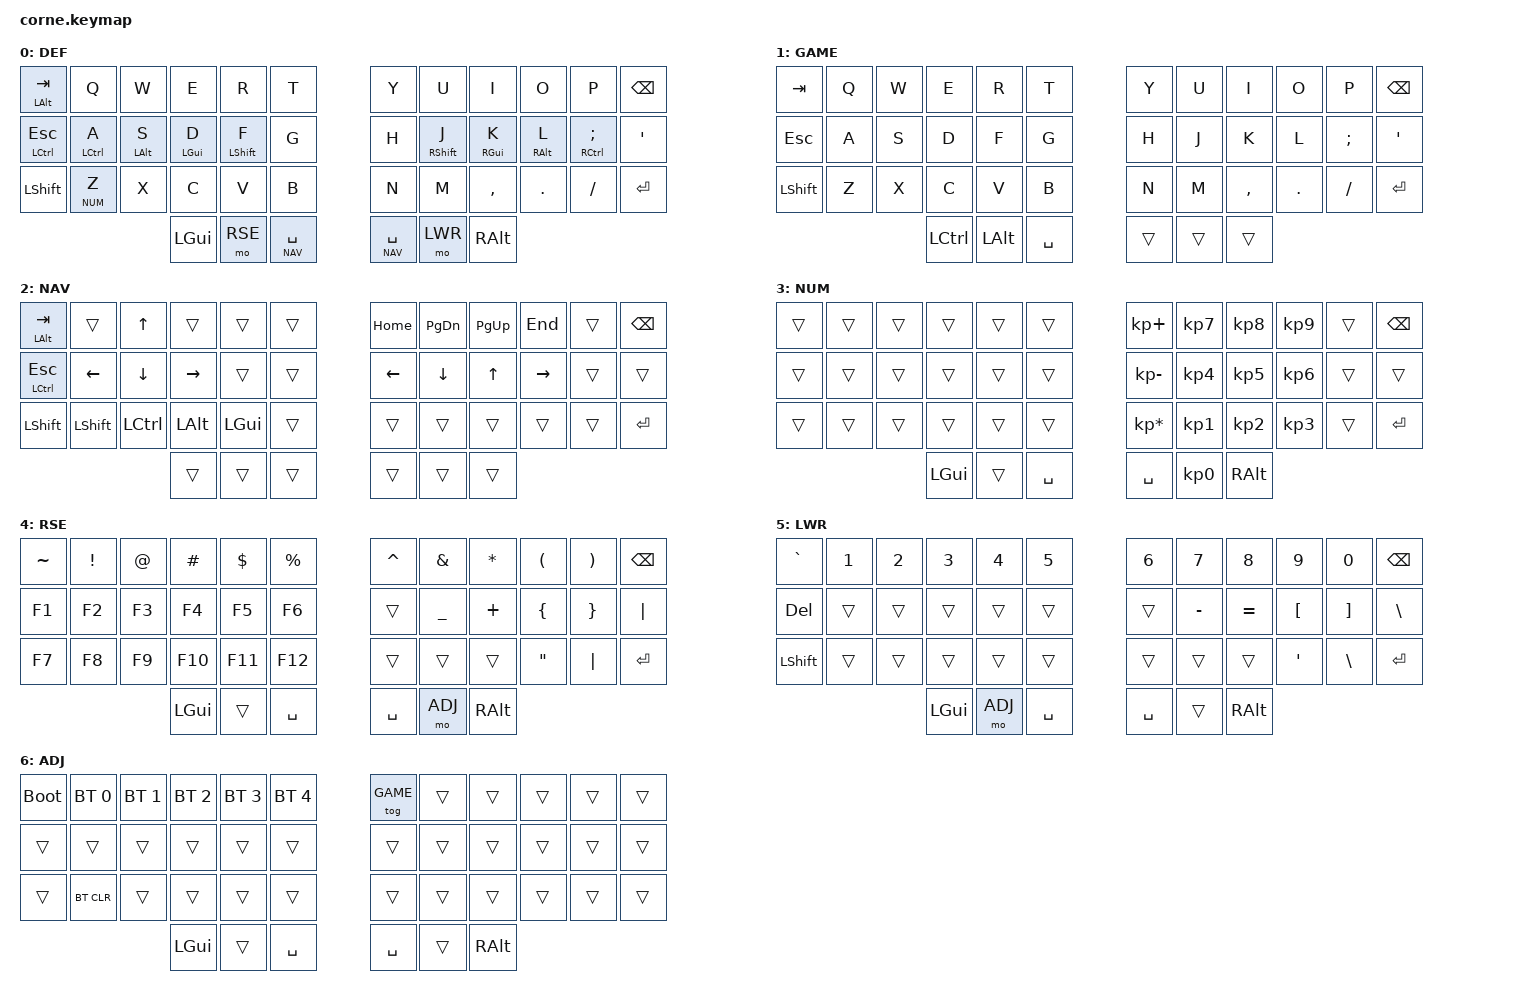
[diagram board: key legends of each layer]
/*
 * Copyright (c) 2020 The ZMK Contributors
 *
 * SPDX-License-Identifier: MIT
 */

#include <behaviors.dtsi>
#include <dt-bindings/zmk/keys.h>
#include <dt-bindings/zmk/bt.h>

&mt {
    flavor = "hold-preferred";
    tapping-term-ms = <150>;
};

&lt {
        #binding-cells = <2>;
        tapping-term-ms = <170>;
        quick-tap-ms = <150>;
        flavor = "tap-preferred";
};

// Layer aliases
#define DEF 0
#define GAME 1
#define NAV 2
#define NUM 3
#define RSE 4
#define LWR 5
#define ADJ 6

&caps_word {
    continue-list = <UNDERSCORE MINUS BSPC DEL N1 N2 N3 N4 N5 N6 N7 N8 N9 N0>;
};
/ {
        behaviors {
                am: alpha_mods {
                        compatible = "zmk,behavior-hold-tap";
                        label = "ALPHA_MT";
                        #binding-cells = <2>;
                        tapping-term-ms = <200>;
                        quick-tap-ms = <150>;
                        flavor = "tap-preferred";
                        bindings = <&kp>, <&kp>;
                };
                as: alpha_shift {
                        compatible = "zmk,behavior-hold-tap";
                        label = "ALPHA_SFT";
                        #binding-cells = <2>;
                        tapping-term-ms = <170>;
                        quick-tap-ms = <150>;
                        flavor = "tap-preferred";
                        bindings = <&kp>, <&kp>;
                };
        };

        combos {
                compatible = "zmk,combos";

                caps_word {
                        bindings = <&caps_word>;
                        key-positions = <17 18>;
                };
        };

        keymap {
                compatible = "zmk,keymap";

                default_layer {
                        label= "DEF";
                        bindings = <
// ╭─────────────┬──────────────┬─────────────┬──────────────┬─────────────┬─────────────╮   ╭──────────────┬──────────────┬─────────────┬─────────────┬───────────────┬────────────╮
     &mt LALT TAB  &kp Q          &kp W          &kp E          &kp R            &kp T            &kp Y        &kp U           &kp I        &kp O        &kp P           &kp BSPC
// ├─────────────┼──────────────┼─────────────┼──────────────┼─────────────┼─────────────┤   ├──────────────┼──────────────┼─────────────┼─────────────┼───────────────┼────────────┤
     &mt LCTRL ESC &am LCTRL A    &am LALT S     &am LGUI D     &as LSHFT F      &kp G            &kp H        &as RSHFT J     &am RGUI K   &am RALT L   &am RCTRL SEMI  &kp SQT
// ├─────────────┼──────────────┼─────────────┼──────────────┼─────────────┼─────────────┤   ├──────────────┼──────────────┼─────────────┼─────────────┼───────────────┼────────────┤
     &kp LSHFT     &lt NUM Z       &kp X         &kp C          &kp V            &kp B            &kp N        &kp M           &kp COMMA    &kp DOT      &kp FSLH        &kp RET
// ╰─────────────┴─────────────┴──────────────┼──────────────┼─────────────┼─────────────┤   ├──────────────┼──────────────┼─────────────┼─────────────┴───────────────┴────────────╯
                                           &kp LGUI    &mo RSE      &lt NAV SPACE                    &lt NAV SPACE     &mo LWR      &kp RALT
                        >;
                };

                game_layer {
                        label= "GAME";
                        bindings = <
// ╭─────────────┬──────────────┬─────────────┬──────────────┬─────────────┬─────────────╮   ╭──────────────┬──────────────┬─────────────┬─────────────┬───────────────┬────────────╮
     &kp TAB       &kp Q          &kp W          &kp E          &kp R            &kp T            &kp Y        &kp U           &kp I        &kp O        &kp P           &kp BSPC
// ├─────────────┼──────────────┼─────────────┼──────────────┼─────────────┼─────────────┤   ├──────────────┼──────────────┼─────────────┼─────────────┼───────────────┼────────────┤
     &kp ESC       &kp A          &kp S          &kp D          &kp F            &kp G            &kp H        &kp J           &kp K        &kp L         &kp SEMI       &kp SQT
// ├─────────────┼──────────────┼─────────────┼──────────────┼─────────────┼─────────────┤   ├──────────────┼──────────────┼─────────────┼─────────────┼───────────────┼────────────┤
     &kp LSHFT     &kp Z          &kp X          &kp C          &kp V            &kp B            &kp N        &kp M           &kp COMMA    &kp DOT      &kp FSLH        &kp RET
// ╰─────────────┴─────────────┴──────────────┼──────────────┼─────────────┼─────────────┤   ├──────────────┼──────────────┼─────────────┼─────────────┴───────────────┴────────────╯
                          	                 &kp LCTRL      &kp LALT        &kp SPACE          &trans       &trans         &trans
                        >;
                };

                nav_layer {
                        label="NAV";
                        bindings = <
// ╭─────────────┬──────────────┬─────────────┬──────────────┬─────────────┬─────────────╮   ╭──────────────┬──────────────┬─────────────┬─────────────┬──────────────┬────────────╮
     &mt LALT TAB   &trans          &kp UP       &trans          &trans        &trans              &kp HOME     &kp PG_DN     &kp PG_UP    &kp END        &trans        &kp BSPC
// ├─────────────┼──────────────┼─────────────┼──────────────┼─────────────┼─────────────┤   ├──────────────┼──────────────┼─────────────┼─────────────┼──────────────┼────────────┤
     &mt LCTRL ESC  &kp LEFT       &kp DOWN      &kp RIGHT       &trans        &trans              &kp LEFT     &kp DOWN      &kp UP       &kp RIGHT      &trans        &trans
// ├─────────────┼──────────────┼─────────────┼──────────────┼─────────────┼─────────────┤   ├──────────────┼──────────────┼─────────────┼─────────────┼──────────────┼────────────┤
     &kp LSHFT      &kp LSHFT      &kp LCTRL     &kp LALT        &kp LGUI      &trans              &trans       &trans        &trans       &trans         &trans        &kp RET
// ╰─────────────┴─────────────┴──────────────┼──────────────┼─────────────┼─────────────┤   ├──────────────┼──────────────┼─────────────┼─────────────┴──────────────┴────────────╯
                          	                 &trans         &trans        &trans              &trans         &trans          &trans
                        >;
                };

                numpad_layer {
                        label = "NUM";
                        bindings = <
// ╭─────────────┬──────────────┬─────────────┬──────────────┬─────────────┬─────────────╮   ╭───────────────┬──────────────┬─────────────┬─────────────┬──────────────┬────────────╮
        &trans        &trans        &trans        &trans         &trans         &trans        &kp KP_PLUS      &kp KP_N7       &kp KP_N8     &kp KP_N9      &trans        &kp BSPC
// ├─────────────┼──────────────┼─────────────┼──────────────┼─────────────┼─────────────┤   ├───────────────┼──────────────┼─────────────┼─────────────┼──────────────┼────────────┤
        &trans        &trans        &trans        &trans         &trans         &trans        &kp KP_MINUS     &kp KP_N4       &kp KP_N5     &kp KP_N6      &trans        &trans
// ├─────────────┼──────────────┼─────────────┼──────────────┼─────────────┼─────────────┤   ├───────────────┼──────────────┼─────────────┼─────────────┼──────────────┼────────────┤
        &trans        &trans        &trans        &trans         &trans         &trans        &kp KP_MULTIPLY  &kp KP_N1       &kp KP_N2     &kp KP_N3      &trans        &kp RET
// ╰─────────────┴─────────────┴──────────────┼──────────────┼─────────────┼─────────────┤   ├───────────────┼──────────────┼─────────────┼─────────────┴──────────────┴────────────╯
                       	                          &kp LGUI       &trans         &kp SPACE     &kp SPACE        &kp KP_N0       &kp RALT
                        >;
                };

               raise_layer {
                        label="RSE";
                        bindings = <
// ╭─────────────┬──────────────┬─────────────┬──────────────┬─────────────┬─────────────╮   ╭──────────────┬──────────────┬─────────────┬─────────────┬──────────────┬────────────╮
     &kp TILDE      &kp EXCL        &kp AT        &kp HASH      &kp DLLR      &kp PRCNT         &kp CARET       &kp AMPS       &kp STAR      &kp LPAR     &kp RPAR       &kp BSPC
// ├─────────────┼──────────────┼─────────────┼──────────────┼─────────────┼─────────────┤   ├──────────────┼──────────────┼─────────────┼─────────────┼──────────────┼────────────┤
     &kp F1          &kp F2        &kp F3        &kp F4        &kp F5        &kp F6             &trans          &kp UNDER      &kp PLUS      &kp LBRC     &kp RBRC       &kp PIPE
// ├─────────────┼──────────────┼─────────────┼──────────────┼─────────────┼─────────────┤   ├──────────────┼──────────────┼─────────────┼─────────────┼──────────────┼────────────┤
     &kp F7          &kp F8        &kp F9        &kp F10       &kp F11       &kp F12            &trans         &trans         &trans        &kp DQT      &kp PIPE       &kp RET
// ╰─────────────┴─────────────┴──────────────┼──────────────┼─────────────┼─────────────┤   ├──────────────┼──────────────┼─────────────┼─────────────┴──────────────┴────────────╯
                    	                           &kp LGUI     &trans        &kp SPACE         &kp SPACE       &mo ADJ       &kp RALT
                        >;
                };

                lower_layer {
                        label = "LWR";
                        bindings = <
// ╭─────────────┬──────────────┬─────────────┬──────────────┬─────────────┬─────────────╮   ╭──────────────┬──────────────┬─────────────┬─────────────┬──────────────┬────────────╮
   &kp GRAVE          &kp N1        &kp N2          &kp N3        &kp N4        &kp N5          &kp N6          &kp N7          &kp N8       &kp N9        &kp N0       &kp BSPC
// ├─────────────┼──────────────┼─────────────┼──────────────┼─────────────┼─────────────┤   ├──────────────┼──────────────┼─────────────┼─────────────┼──────────────┼────────────┤
   &kp DEL            &trans        &trans          &trans        &trans        &trans          &trans          &kp MINUS       &kp EQUAL    &kp LBKT      &kp RBKT     &kp BSLH
// ├─────────────┼──────────────┼─────────────┼──────────────┼─────────────┼─────────────┤   ├──────────────┼──────────────┼─────────────┼─────────────┼──────────────┼────────────┤
   &kp LSHFT          &trans        &trans          &trans        &trans        &trans          &trans          &trans          &trans       &kp SQT       &kp BSLH     &kp RET
// ╰─────────────┴─────────────┴──────────────┼──────────────┼─────────────┼─────────────┤   ├──────────────┼──────────────┼─────────────┼─────────────┴──────────────┴────────────╯
                    	                        &kp LGUI          &mo ADJ      &kp SPACE        &kp SPACE       &trans          &kp RALT
                        >;
                };

                adjust_layer {
                        label = "ADJ";
                        bindings = <
// ╭─────────────┬──────────────┬─────────────┬──────────────┬─────────────┬─────────────╮   ╭──────────────┬──────────────┬─────────────┬─────────────┬──────────────┬────────────╮
   &bootloader     &bt BT_SEL 0  &bt BT_SEL 1   &bt BT_SEL 2  &bt BT_SEL 3   &bt BT_SEL 4       &tog GAME       &trans          &trans        &trans       &trans         &trans
// ├─────────────┼──────────────┼─────────────┼──────────────┼─────────────┼─────────────┤   ├──────────────┼──────────────┼─────────────┼─────────────┼──────────────┼────────────┤
   &trans          &trans          &trans          &trans        &trans       &trans            &trans          &trans          &trans        &trans       &trans         &trans
// ├─────────────┼──────────────┼─────────────┼──────────────┼─────────────┼─────────────┤   ├──────────────┼──────────────┼─────────────┼─────────────┼──────────────┼────────────┤
   &trans          &bt BT_CLR      &trans          &trans        &trans       &trans            &trans          &trans          &trans        &trans       &trans         &trans
// ╰─────────────┴──────────────┴─────────────┼──────────────┼─────────────┼─────────────┤   ├──────────────┼──────────────┼─────────────┼─────────────┴──────────────┴────────────╯
                    	                           &kp LGUI     &trans          &kp SPACE       &kp SPACE       &trans          &kp RALT
                        >;
                };

        };
};
